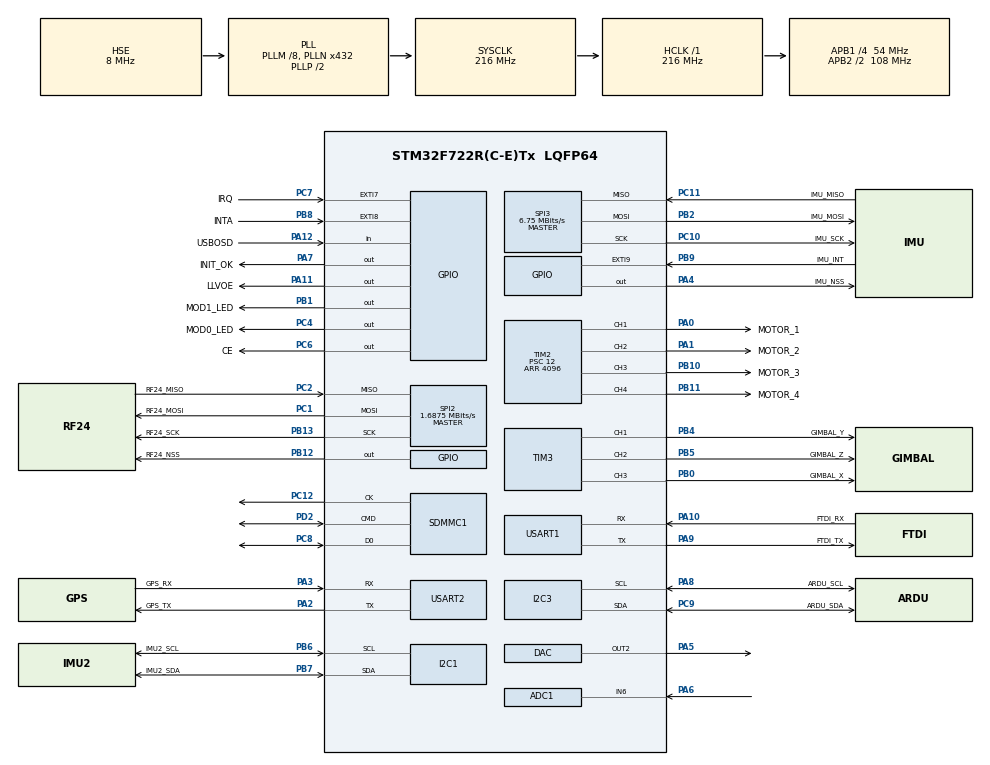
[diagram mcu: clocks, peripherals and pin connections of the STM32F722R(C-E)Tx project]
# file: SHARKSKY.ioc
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ADC1.Channel-1\#ChannelRegularConversion=ADC_CHANNEL_6
ADC1.NbrOfConversionFlag=1
ADC1.Rank-1\#ChannelRegularConversion=1
ADC1.SamplingTime-1\#ChannelRegularConversion=ADC_SAMPLETIME_3CYCLES
ADC1.master=1
CORTEX_M7.ART_ACCLERATOR_ENABLE=0
CORTEX_M7.CPU_DCache=Disabled
CORTEX_M7.CPU_ICache=Enabled
CORTEX_M7.FlashInterface=TCM_Enabled
DAC.DAC_Trigger2=DAC_TRIGGER_T6_TRGO
DAC.WaveGeneration2=DISABLE
Dma.ADC1.7.Direction=DMA_PERIPH_TO_MEMORY
Dma.ADC1.7.FIFOMode=DMA_FIFOMODE_DISABLE
Dma.ADC1.7.Instance=DMA2_Stream0
Dma.ADC1.7.MemDataAlignment=DMA_MDATAALIGN_HALFWORD
Dma.ADC1.7.MemInc=DMA_MINC_ENABLE
Dma.ADC1.7.Mode=DMA_NORMAL
Dma.ADC1.7.PeriphDataAlignment=DMA_PDATAALIGN_HALFWORD
Dma.ADC1.7.PeriphInc=DMA_PINC_DISABLE
Dma.ADC1.7.Priority=DMA_PRIORITY_LOW
Dma.DAC2.6.Direction=DMA_MEMORY_TO_PERIPH
Dma.DAC2.6.FIFOMode=DMA_FIFOMODE_DISABLE
Dma.DAC2.6.Instance=DMA1_Stream6
Dma.DAC2.6.MemDataAlignment=DMA_MDATAALIGN_BYTE
Dma.DAC2.6.MemInc=DMA_MINC_ENABLE
Dma.DAC2.6.Mode=DMA_CIRCULAR
Dma.DAC2.6.PeriphDataAlignment=DMA_PDATAALIGN_BYTE
Dma.DAC2.6.PeriphInc=DMA_PINC_DISABLE
Dma.DAC2.6.Priority=DMA_PRIORITY_LOW
Dma.I2C3_RX.5.Direction=DMA_PERIPH_TO_MEMORY
Dma.I2C3_RX.5.FIFOMode=DMA_FIFOMODE_DISABLE
Dma.I2C3_RX.5.Instance=DMA1_Stream1
Dma.I2C3_RX.5.MemDataAlignment=DMA_MDATAALIGN_BYTE
Dma.I2C3_RX.5.MemInc=DMA_MINC_ENABLE
Dma.I2C3_RX.5.Mode=DMA_NORMAL
Dma.I2C3_RX.5.PeriphDataAlignment=DMA_PDATAALIGN_BYTE
Dma.I2C3_RX.5.PeriphInc=DMA_PINC_DISABLE
Dma.I2C3_RX.5.Priority=DMA_PRIORITY_LOW
Dma.Request0=SPI2_RX
Dma.Request1=SPI3_RX
Dma.Request10=USART1_TX
Dma.Request2=SPI3_TX
Dma.Request3=SPI2_TX
Dma.Request4=SDMMC1_TX
Dma.Request5=I2C3_RX
Dma.Request6=DAC2
Dma.Request7=ADC1
Dma.Request8=SDMMC1_RX
Dma.Request9=USART1_RX
Dma.SDMMC1_RX.8.Direction=DMA_PERIPH_TO_MEMORY
Dma.SDMMC1_RX.8.FIFOMode=DMA_FIFOMODE_ENABLE
Dma.SDMMC1_RX.8.FIFOThreshold=DMA_FIFO_THRESHOLD_FULL
Dma.SDMMC1_RX.8.Instance=DMA2_Stream3
Dma.SDMMC1_RX.8.MemBurst=DMA_MBURST_INC4
Dma.SDMMC1_RX.8.MemDataAlignment=DMA_MDATAALIGN_WORD
Dma.SDMMC1_RX.8.MemInc=DMA_MINC_ENABLE
Dma.SDMMC1_RX.8.Mode=DMA_PFCTRL
Dma.SDMMC1_RX.8.PeriphBurst=DMA_PBURST_INC4
Dma.SDMMC1_RX.8.PeriphDataAlignment=DMA_PDATAALIGN_WORD
Dma.SDMMC1_RX.8.PeriphInc=DMA_PINC_DISABLE
Dma.SDMMC1_RX.8.Priority=DMA_PRIORITY_LOW
Dma.SDMMC1_TX.4.Direction=DMA_MEMORY_TO_PERIPH
Dma.SDMMC1_TX.4.FIFOMode=DMA_FIFOMODE_ENABLE
Dma.SDMMC1_TX.4.FIFOThreshold=DMA_FIFO_THRESHOLD_FULL
Dma.SDMMC1_TX.4.Instance=DMA2_Stream6
Dma.SDMMC1_TX.4.MemBurst=DMA_MBURST_INC4
Dma.SDMMC1_TX.4.MemDataAlignment=DMA_MDATAALIGN_WORD
Dma.SDMMC1_TX.4.MemInc=DMA_MINC_ENABLE
Dma.SDMMC1_TX.4.Mode=DMA_PFCTRL
Dma.SDMMC1_TX.4.PeriphBurst=DMA_PBURST_INC4
Dma.SDMMC1_TX.4.PeriphDataAlignment=DMA_PDATAALIGN_WORD
Dma.SDMMC1_TX.4.PeriphInc=DMA_PINC_DISABLE
Dma.SDMMC1_TX.4.Priority=DMA_PRIORITY_LOW
Dma.SPI2_RX.0.Direction=DMA_PERIPH_TO_MEMORY
Dma.SPI2_RX.0.FIFOMode=DMA_FIFOMODE_DISABLE
Dma.SPI2_RX.0.Instance=DMA1_Stream3
Dma.SPI2_RX.0.MemDataAlignment=DMA_MDATAALIGN_BYTE
Dma.SPI2_RX.0.MemInc=DMA_MINC_ENABLE
Dma.SPI2_RX.0.Mode=DMA_NORMAL
Dma.SPI2_RX.0.PeriphDataAlignment=DMA_PDATAALIGN_BYTE
Dma.SPI2_RX.0.PeriphInc=DMA_PINC_DISABLE
Dma.SPI2_RX.0.Priority=DMA_PRIORITY_LOW
Dma.SPI2_TX.3.Direction=DMA_MEMORY_TO_PERIPH
Dma.SPI2_TX.3.FIFOMode=DMA_FIFOMODE_DISABLE
Dma.SPI2_TX.3.Instance=DMA1_Stream4
Dma.SPI2_TX.3.MemDataAlignment=DMA_MDATAALIGN_BYTE
Dma.SPI2_TX.3.MemInc=DMA_MINC_ENABLE
Dma.SPI2_TX.3.Mode=DMA_NORMAL
Dma.SPI2_TX.3.PeriphDataAlignment=DMA_PDATAALIGN_BYTE
Dma.SPI2_TX.3.PeriphInc=DMA_PINC_DISABLE
Dma.SPI2_TX.3.Priority=DMA_PRIORITY_LOW
Dma.SPI3_RX.1.Direction=DMA_PERIPH_TO_MEMORY
Dma.SPI3_RX.1.FIFOMode=DMA_FIFOMODE_DISABLE
Dma.SPI3_RX.1.Instance=DMA1_Stream2
Dma.SPI3_RX.1.MemDataAlignment=DMA_MDATAALIGN_BYTE
Dma.SPI3_RX.1.MemInc=DMA_MINC_ENABLE
Dma.SPI3_RX.1.Mode=DMA_NORMAL
Dma.SPI3_RX.1.PeriphDataAlignment=DMA_PDATAALIGN_BYTE
Dma.SPI3_RX.1.PeriphInc=DMA_PINC_DISABLE
Dma.SPI3_RX.1.Priority=DMA_PRIORITY_HIGH
Dma.SPI3_TX.2.Direction=DMA_MEMORY_TO_PERIPH
Dma.SPI3_TX.2.FIFOMode=DMA_FIFOMODE_DISABLE
Dma.SPI3_TX.2.Instance=DMA1_Stream5
Dma.SPI3_TX.2.MemDataAlignment=DMA_MDATAALIGN_BYTE
Dma.SPI3_TX.2.MemInc=DMA_MINC_ENABLE
Dma.SPI3_TX.2.Mode=DMA_NORMAL
Dma.SPI3_TX.2.PeriphDataAlignment=DMA_PDATAALIGN_BYTE
Dma.SPI3_TX.2.PeriphInc=DMA_PINC_DISABLE
Dma.SPI3_TX.2.Priority=DMA_PRIORITY_HIGH
Dma.USART1_RX.9.Direction=DMA_PERIPH_TO_MEMORY
Dma.USART1_RX.9.FIFOMode=DMA_FIFOMODE_DISABLE
Dma.USART1_RX.9.Instance=DMA2_Stream2
Dma.USART1_RX.9.MemDataAlignment=DMA_MDATAALIGN_BYTE
Dma.USART1_RX.9.MemInc=DMA_MINC_ENABLE
Dma.USART1_RX.9.Mode=DMA_NORMAL
Dma.USART1_RX.9.PeriphDataAlignment=DMA_PDATAALIGN_BYTE
Dma.USART1_RX.9.PeriphInc=DMA_PINC_DISABLE
Dma.USART1_RX.9.Priority=DMA_PRIORITY_LOW
Dma.USART1_TX.10.Direction=DMA_MEMORY_TO_PERIPH
Dma.USART1_TX.10.FIFOMode=DMA_FIFOMODE_DISABLE
Dma.USART1_TX.10.Instance=DMA2_Stream7
Dma.USART1_TX.10.MemDataAlignment=DMA_MDATAALIGN_BYTE
Dma.USART1_TX.10.MemInc=DMA_MINC_ENABLE
Dma.USART1_TX.10.Mode=DMA_NORMAL
Dma.USART1_TX.10.PeriphDataAlignment=DMA_PDATAALIGN_BYTE
Dma.USART1_TX.10.PeriphInc=DMA_PINC_DISABLE
Dma.USART1_TX.10.Priority=DMA_PRIORITY_LOW
FATFS.BSP.number=1
FATFS0.BSP.STBoard=false
FATFS0.BSP.api=Unknown
FATFS0.BSP.instance=PA12
FATFS0.BSP.ip=GPIO
FATFS0.BSP.mode=Input
FATFS0.BSP.name=Detect_SDIO
FATFS0.BSP.solution=PA12
I2C1.Timing=0x20404768
I2C3.Timing=0x20404768
Mcu.Family=STM32F7
Mcu.Name=STM32F722R(C-E)Tx
Mcu.Package=LQFP64
NVIC.DMA1_Stream1_IRQn=true\:0\:0\:false\:false\:true\:false\:true\:true
NVIC.DMA1_Stream2_IRQn=true\:0\:0\:false\:false\:true\:false\:true\:true
NVIC.DMA1_Stream3_IRQn=true\:0\:0\:false\:false\:true\:false\:true\:true
NVIC.DMA1_Stream4_IRQn=true\:0\:0\:false\:false\:true\:false\:true\:true
NVIC.DMA1_Stream5_IRQn=true\:0\:0\:false\:false\:true\:false\:true\:true
NVIC.DMA1_Stream6_IRQn=true\:0\:0\:false\:false\:true\:false\:true\:true
NVIC.DMA2_Stream0_IRQn=true\:0\:0\:false\:false\:true\:false\:true\:true
NVIC.DMA2_Stream2_IRQn=true\:0\:0\:false\:false\:true\:false\:true\:true
NVIC.DMA2_Stream3_IRQn=true\:0\:0\:false\:false\:true\:false\:true\:true
NVIC.DMA2_Stream6_IRQn=true\:0\:0\:false\:false\:true\:false\:true\:true
NVIC.DMA2_Stream7_IRQn=true\:0\:0\:false\:false\:true\:false\:true\:true
NVIC.EXTI9_5_IRQn=true\:0\:0\:false\:false\:true\:true\:true\:true
NVIC.PriorityGroup=NVIC_PRIORITYGROUP_4
NVIC.SDMMC1_IRQn=true\:0\:0\:false\:false\:true\:true\:true\:true
NVIC.TIM4_IRQn=true\:0\:0\:false\:false\:true\:true\:true\:true
NVIC.TIM5_IRQn=true\:0\:0\:false\:false\:true\:true\:true\:true
NVIC.TIM7_IRQn=true\:0\:0\:false\:false\:true\:true\:true\:true
NVIC.USART2_IRQn=true\:0\:0\:false\:false\:true\:true\:true\:true
PA0-WKUP.GPIO_Label=MOTOR_1
PA0-WKUP.Signal=S_TIM2_CH1_ETR
PA1.GPIO_Label=MOTOR_2
PA1.Signal=S_TIM2_CH2
PA10.GPIO_Label=FTDI_RX
PA10.Mode=Asynchronous
PA10.Signal=USART1_RX
PA11.GPIO_Label=LLVOE
PA11.Signal=GPIO_Output
PA12.GPIO_Label=USBOSD
PA12.GPIO_PuPd=GPIO_NOPULL
PA12.Signal=GPIO_Input
PA13.Mode=Serial_Wire
PA13.Signal=SYS_JTMS-SWDIO
PA14.Mode=Serial_Wire
PA14.Signal=SYS_JTCK-SWCLK
PA2.GPIO_Label=GPS_TX
PA2.Mode=Asynchronous
PA2.Signal=USART2_TX
PA3.GPIO_Label=GPS_RX
PA3.Mode=Asynchronous
PA3.Signal=USART2_RX
PA4.GPIO_Label=IMU_NSS
PA4.GPIO_Speed=GPIO_SPEED_FREQ_VERY_HIGH
PA4.PinState=GPIO_PIN_SET
PA4.Signal=GPIO_Output
PA5.Signal=COMP_DAC2_group
PA6.Signal=ADCx_IN6
PA7.GPIO_Label=INIT_OK
PA7.Signal=GPIO_Output
PA8.GPIO_Label=ARDU_SCL
PA8.GPIO_Pu=GPIO_PULLUP
PA8.Mode=I2C
PA8.Signal=I2C3_SCL
PA9.GPIO_Label=FTDI_TX
PA9.Mode=Asynchronous
PA9.Signal=USART1_TX
PB0.GPIO_Label=GIMBAL_X
PB0.Signal=S_TIM3_CH3
PB1.GPIO_Label=MOD1_LED
PB1.Signal=GPIO_Output
PB10.GPIO_Label=MOTOR_3
PB10.Signal=S_TIM2_CH3
PB11.GPIO_Label=MOTOR_4
PB11.Signal=S_TIM2_CH4
PB12.GPIO_Label=RF24_NSS
PB12.GPIO_PuPd=GPIO_PULLUP
PB12.GPIO_Speed=GPIO_SPEED_FREQ_VERY_HIGH
PB12.PinState=GPIO_PIN_SET
PB12.Signal=GPIO_Output
PB13.GPIO_Label=RF24_SCK
PB13.Mode=Full_Duplex_Master
PB13.Signal=SPI2_SCK
PB2.GPIO_Label=IMU_MOSI
PB2.Mode=Full_Duplex_Master
PB2.Signal=SPI3_MOSI
PB4.GPIO_Label=GIMBAL_Y
PB4.Signal=S_TIM3_CH1
PB5.GPIO_Label=GIMBAL_Z
PB5.Signal=S_TIM3_CH2
PB6.GPIO_Label=IMU2_SCL
PB6.GPIO_Pu=GPIO_PULLUP
PB6.Mode=I2C
PB6.Signal=I2C1_SCL
PB7.GPIO_Label=IMU2_SDA
PB7.GPIO_Pu=GPIO_PULLUP
PB7.Mode=I2C
PB7.Signal=I2C1_SDA
PB8.GPIO_Label=INTA
PB8.Signal=GPXTI8
PB9.GPIO_Label=IMU_INT
PB9.Signal=GPXTI9
PC1.GPIO_Label=RF24_MOSI
PC1.Mode=Full_Duplex_Master
PC1.Signal=SPI2_MOSI
PC10.GPIO_Label=IMU_SCK
PC10.Mode=Full_Duplex_Master
PC10.Signal=SPI3_SCK
PC11.GPIO_Label=IMU_MISO
PC11.Mode=Full_Duplex_Master
PC11.Signal=SPI3_MISO
PC12.Mode=SD_1_bit
PC12.Signal=SDMMC1_CK
PC2.GPIO_Label=RF24_MISO
PC2.Mode=Full_Duplex_Master
PC2.Signal=SPI2_MISO
PC4.GPIO_Label=MOD0_LED
PC4.Signal=GPIO_Output
PC6.GPIO_Label=CE
PC6.Signal=GPIO_Output
PC7.GPIO_Label=IRQ
PC7.Signal=GPXTI7
PC8.Mode=SD_1_bit
PC8.Signal=SDMMC1_D0
PC9.GPIO_Label=ARDU_SDA
PC9.GPIO_Pu=GPIO_PULLUP
PC9.Mode=I2C
PC9.Signal=I2C3_SDA
PD2.Mode=SD_1_bit
PD2.Signal=SDMMC1_CMD
PH0-OSC_IN.Mode=HSE-External-Oscillator
PH0-OSC_IN.Signal=RCC_OSC_IN
PH1-OSC_OUT.Mode=HSE-External-Oscillator
PH1-OSC_OUT.Signal=RCC_OSC_OUT
ProjectManager.HeapSize=0x200
ProjectManager.StackSize=0x400
ProjectManager.TargetToolchain=STM32CubeIDE
RCC.AHBFreq_Value=216000000
RCC.APB1CLKDivider=RCC_HCLK_DIV4
RCC.APB1Freq_Value=54000000
RCC.APB1TimFreq_Value=108000000
RCC.APB2CLKDivider=RCC_HCLK_DIV2
RCC.APB2Freq_Value=108000000
RCC.APB2TimFreq_Value=216000000
RCC.CortexFreq_Value=216000000
RCC.HCLKFreq_Value=216000000
RCC.HSE_VALUE=8000000
RCC.HSI_VALUE=16000000
RCC.LSE_VALUE=32768
RCC.PLLM=8
RCC.PLLN=432
RCC.PLLQ=9
RCC.PLLSourceVirtual=RCC_PLLSOURCE_HSE
RCC.SDMMCClockSelection=RCC_SDMMC1CLKSOURCE_CLK48
RCC.SYSCLKFreq_VALUE=216000000
RCC.SYSCLKSource=RCC_SYSCLKSOURCE_PLLCLK
RCC.USBFreq_Value=48000000
RCC.VCOOutputFreq_Value=432000000
SDMMC1.ClockDiv=0
SH.ADCx_IN6.0=ADC1_IN6,IN6
SH.COMP_DAC2_group.0=DAC_OUT2,DAC_OUT2
SH.S_TIM2_CH1_ETR.0=TIM2_CH1,PWM Generation1 CH1
SH.S_TIM2_CH2.0=TIM2_CH2,PWM Generation2 CH2
SH.S_TIM2_CH3.0=TIM2_CH3,PWM Generation3 CH3
SH.S_TIM2_CH4.0=TIM2_CH4,PWM Generation4 CH4
SH.S_TIM3_CH1.0=TIM3_CH1,PWM Generation1 CH1
SH.S_TIM3_CH2.0=TIM3_CH2,PWM Generation2 CH2
SH.S_TIM3_CH3.0=TIM3_CH3,PWM Generation3 CH3
SPI2.BaudRatePrescaler=SPI_BAUDRATEPRESCALER_32
SPI2.CalculateBaudRate=1.6875 MBits/s
SPI2.DataSize=SPI_DATASIZE_8BIT
SPI2.Direction=SPI_DIRECTION_2LINES
SPI2.Mode=SPI_MODE_MASTER
SPI2.VirtualType=VM_MASTER
SPI3.BaudRatePrescaler=SPI_BAUDRATEPRESCALER_8
SPI3.CalculateBaudRate=6.75 MBits/s
SPI3.DataSize=SPI_DATASIZE_8BIT
SPI3.Direction=SPI_DIRECTION_2LINES
SPI3.Mode=SPI_MODE_MASTER
SPI3.NSSPMode=SPI_NSS_PULSE_DISABLE
SPI3.VirtualType=VM_MASTER
TIM2.Channel-PWM\ Generation1\ CH1=TIM_CHANNEL_1
TIM2.Channel-PWM\ Generation2\ CH2=TIM_CHANNEL_2
TIM2.Channel-PWM\ Generation3\ CH3=TIM_CHANNEL_3
TIM2.Channel-PWM\ Generation4\ CH4=TIM_CHANNEL_4
TIM2.Period=4096
TIM2.Prescaler=12
TIM3.Channel-PWM\ Generation1\ CH1=TIM_CHANNEL_1
TIM3.Channel-PWM\ Generation2\ CH2=TIM_CHANNEL_2
TIM3.Channel-PWM\ Generation3\ CH3=TIM_CHANNEL_3
TIM4.Period=53999
TIM4.Prescaler=3
TIM5.Period=53999
TIM5.Prescaler=7
TIM6.Period=10
TIM6.TIM_MasterOutputTrigger=TIM_TRGO_UPDATE
TIM7.Period=59999
TIM7.Prescaler=17
USART1.VirtualMode-Asynchronous=VM_ASYNC
USART2.VirtualMode-Asynchronous=VM_ASYNC
VP_FATFS_VS_SDIO.Mode=SDIO
VP_TIM2_VS_ClockSourceINT.Mode=Internal
VP_TIM4_VS_ClockSourceINT.Mode=Internal
VP_TIM5_VS_ClockSourceINT.Mode=Internal
VP_TIM6_VS_ClockSourceINT.Mode=Enable_Timer
VP_TIM7_VS_ClockSourceINT.Mode=Enable_Timer
board=custom

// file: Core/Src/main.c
/* USER CODE BEGIN Header */
/**
  ******************************************************************************
  * @file           : main.c
  * @brief          : Main program body
  ******************************************************************************
  * @attention
  *
  * <h2><center>&copy; Copyright (c) 2020 STMicroelectronics.
  * All rights reserved.</center></h2>
  *
  * This software component is licensed by ST under BSD 3-Clause license,
  * the "License"; You may not use this file except in compliance with the
  * License. You may obtain a copy of the License at:
  *                        opensource.org/licenses/BSD-3-Clause
  *
  ******************************************************************************
  */
/* USER CODE END Header */
#include "main.h"
#include "adc.h"
#include "dac.h"
#include "dma.h"
#include "fatfs.h"
#include "i2c.h"
#include "sdmmc.h"
#include "spi.h"
#include "tim.h"
#include "usart.h"
#include "gpio.h"

/* USER CODE BEGIN Includes */
#include "ICM20689.h"
#include "nRF24.h"
/* USER CODE END Includes */

/* USER CODE BEGIN PV */
float looptime = 0.001;
/* USER CODE END PV */

void SystemClock_Config(void);

int main(void)
{
  /* USER CODE BEGIN 1 */
	IMU_init_ok = false;
  /* USER CODE END 1 */

  /* Enable I-Cache---------------------------------------------------------*/
  SCB_EnableICache();

  /* MCU Configuration--------------------------------------------------------*/

  /* Reset of all peripherals, Initializes the Flash interface and the Systick. */
  HAL_Init();

  /* Configure the system clock */
  SystemClock_Config();

  /* Initialize all configured peripherals */
  MX_GPIO_Init();
  MX_DMA_Init();
  MX_ADC1_Init();
  MX_DAC_Init();
  MX_I2C1_Init();
  MX_I2C3_Init();
  MX_SDMMC1_SD_Init();
  MX_SPI2_Init();
  MX_SPI3_Init();
  MX_TIM2_Init();
  MX_TIM3_Init();
  MX_TIM4_Init();
  MX_TIM5_Init();
  MX_TIM6_Init();
  MX_TIM7_Init();
  MX_USART1_UART_Init();
  MX_USART2_UART_Init();
  MX_FATFS_Init();
  /* USER CODE BEGIN 2 */

	//start DWT counter also when not in Debug mode to count clock ticks
	CoreDebug->DEMCR |= CoreDebug_DEMCR_TRCENA_Msk;	//https://stackoverflow.com/questions/36378280/stm32-how-to-enable-dwt-cycle-counter
	DWT->LAR = 0xC5ACCE55; 							//https://stackoverflow.com/questions/36378280/stm32-how-to-enable-dwt-cycle-counter 12.10.19 02:03
	DWT->CYCCNT = 0;								//https://www.carminenoviello.com/2015/09/04/precisely-measure-microseconds-stm32/ 12.10.19 01:30
	DWT->CTRL |= DWT_CTRL_CYCCNTENA_Msk;

	// INIT MOTORS
	// Start PWM on timer 2
	HAL_TIM_PWM_Start(&htim2, TIM_CHANNEL_1);
	HAL_TIM_PWM_Start(&htim2, TIM_CHANNEL_2);
	HAL_TIM_PWM_Start(&htim2, TIM_CHANNEL_3);
	HAL_TIM_PWM_Start(&htim2, TIM_CHANNEL_4);

	IMU_init_ok = IMU_Init();
	//const uint64_t pipe = 0xE8E8F0F0E2;	//pipe address

	/*RF24_begin();
	RF24_setPayloadSize(32);
	RF24_setChannel(125);
	RF24_setDataRate(RF24_250KBPS);
	RF24_setPALevel(RF24_PA_MAX);
	RF24_setAutoAck(true);
	RF24_enableDynamicAck();
	RF24_enableAckPayload();
	RF24_openReadingPipe(1, pipe);*/

	HAL_TIM_Base_Start_IT(&htim4); //start IMU trigger
  /* USER CODE END 2 */

  /* Infinite loop */
  /* USER CODE BEGIN WHILE */
  while (1)
  {
	  double start = DWT->CYCCNT; //read value from counter register

	  IMU_calcAngle();

		  //RF24_read(&recvData, sizeof(struct RadioData));
		  //RF24_writeAckPayload(1,&ackData,sizeof(struct AckData));

	  double stop = DWT->CYCCNT;
	  looptime = (stop - start)/216000000.0;
    /* USER CODE END WHILE */

  }
}

void SystemClock_Config(void)
{
  RCC_OscInitTypeDef RCC_OscInitStruct = {0};
  RCC_ClkInitTypeDef RCC_ClkInitStruct = {0};
  RCC_PeriphCLKInitTypeDef PeriphClkInitStruct = {0};

  /** Configure the main internal regulator output voltage
  */
  __HAL_RCC_PWR_CLK_ENABLE();
  __HAL_PWR_VOLTAGESCALING_CONFIG(PWR_REGULATOR_VOLTAGE_SCALE1);
  /** Initializes the RCC Oscillators according to the specified parameters
  * in the RCC_OscInitTypeDef structure.
  */
  RCC_OscInitStruct.OscillatorType = RCC_OSCILLATORTYPE_HSE;
  RCC_OscInitStruct.HSEState = RCC_HSE_ON;
  RCC_OscInitStruct.PLL.PLLState = RCC_PLL_ON;
  RCC_OscInitStruct.PLL.PLLSource = RCC_PLLSOURCE_HSE;
  RCC_OscInitStruct.PLL.PLLM = 8;
  RCC_OscInitStruct.PLL.PLLN = 432;
  RCC_OscInitStruct.PLL.PLLP = RCC_PLLP_DIV2;
  RCC_OscInitStruct.PLL.PLLQ = 9;
  if (HAL_RCC_OscConfig(&RCC_OscInitStruct) != HAL_OK)
  {
    Error_Handler();
  }
  /** Activate the Over-Drive mode
  */
  if (HAL_PWREx_EnableOverDrive() != HAL_OK)
  {
    Error_Handler();
  }
  /** Initializes the CPU, AHB and APB buses clocks
  */
  RCC_ClkInitStruct.ClockType = RCC_CLOCKTYPE_HCLK|RCC_CLOCKTYPE_SYSCLK
                              |RCC_CLOCKTYPE_PCLK1|RCC_CLOCKTYPE_PCLK2;
  RCC_ClkInitStruct.SYSCLKSource = RCC_SYSCLKSOURCE_PLLCLK;
  RCC_ClkInitStruct.AHBCLKDivider = RCC_SYSCLK_DIV1;
  RCC_ClkInitStruct.APB1CLKDivider = RCC_HCLK_DIV4;
  RCC_ClkInitStruct.APB2CLKDivider = RCC_HCLK_DIV2;

  if (HAL_RCC_ClockConfig(&RCC_ClkInitStruct, FLASH_LATENCY_7) != HAL_OK)
  {
    Error_Handler();
  }
  PeriphClkInitStruct.PeriphClockSelection = RCC_PERIPHCLK_USART1|RCC_PERIPHCLK_USART2
                              |RCC_PERIPHCLK_I2C1|RCC_PERIPHCLK_I2C3
                              |RCC_PERIPHCLK_SDMMC1|RCC_PERIPHCLK_CLK48;
  PeriphClkInitStruct.Usart1ClockSelection = RCC_USART1CLKSOURCE_PCLK2;
  PeriphClkInitStruct.Usart2ClockSelection = RCC_USART2CLKSOURCE_PCLK1;
  PeriphClkInitStruct.I2c1ClockSelection = RCC_I2C1CLKSOURCE_PCLK1;
  PeriphClkInitStruct.I2c3ClockSelection = RCC_I2C3CLKSOURCE_PCLK1;
  PeriphClkInitStruct.Clk48ClockSelection = RCC_CLK48SOURCE_PLL;
  PeriphClkInitStruct.Sdmmc1ClockSelection = RCC_SDMMC1CLKSOURCE_CLK48;
  if (HAL_RCCEx_PeriphCLKConfig(&PeriphClkInitStruct) != HAL_OK)
  {
    Error_Handler();
  }
}

void Error_Handler(void)
{
}

/************************ (C) COPYRIGHT STMicroelectronics *****END OF FILE****/
